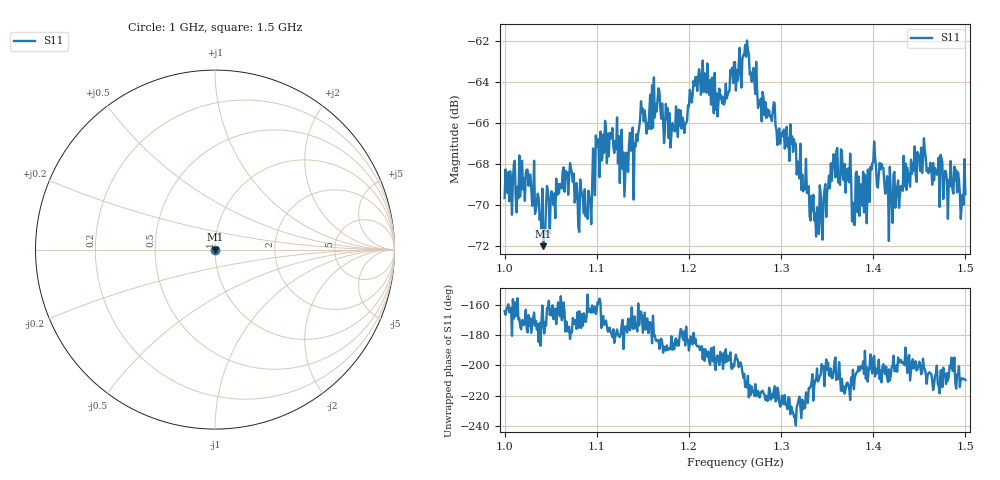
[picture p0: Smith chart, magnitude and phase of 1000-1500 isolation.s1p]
! NanoVNA-App by SYSJOINT et al v1.1.209 (+OD18)
! Date: 2025-09-17 10:18:51
! Start: 1GHz Stop: 1.5GHz Points: 501
! S-Parameter data: F S11
# Hz S RI R 50
!  Frequency  S11_Real  S11_Imag
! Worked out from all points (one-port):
!   501 points, 1 GHz to 1.5 GHz, reference 50 ohm
!   lowest |S11| = -72.0 dB at 1.042 GHz (marker M1), VSWR 1.00, Z = 50 - j0.00404 ohm
!   |S11| at or under -10 dB: start of sweep to end of sweep
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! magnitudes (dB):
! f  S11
! 1 GHz  -69.7
! 1.026 GHz  -69.1
! 1.042 GHz  -72.0
! 1.063 GHz  -68.4
! 1.073 GHz  -68.4
! 1.088 GHz  -70.6
! 1.101 GHz  -67.2
! 1.125 GHz  -68.9
! 1.132 GHz  -67.4
! 1.148 GHz  -64.9
! 1.166 GHz  -64.8
! 1.188 GHz  -66.7
! 1.196 GHz  -66.0
! 1.209 GHz  -64.4
! 1.231 GHz  -65.7
! 1.25 GHz  -63.0
! 1.263 GHz  -62.0
! 1.277 GHz  -65.1
! 1.313 GHz  -67.4
! 1.339 GHz  -70.1
! 1.359 GHz  -68.7
! 1.375 GHz  -67.5
! 1.378 GHz  -69.9
! 1.401 GHz  -66.9
! 1.419 GHz  -69.4
! 1.438 GHz  -68.5
! 1.454 GHz  -67.8
! 1.5 GHz  -69.5
